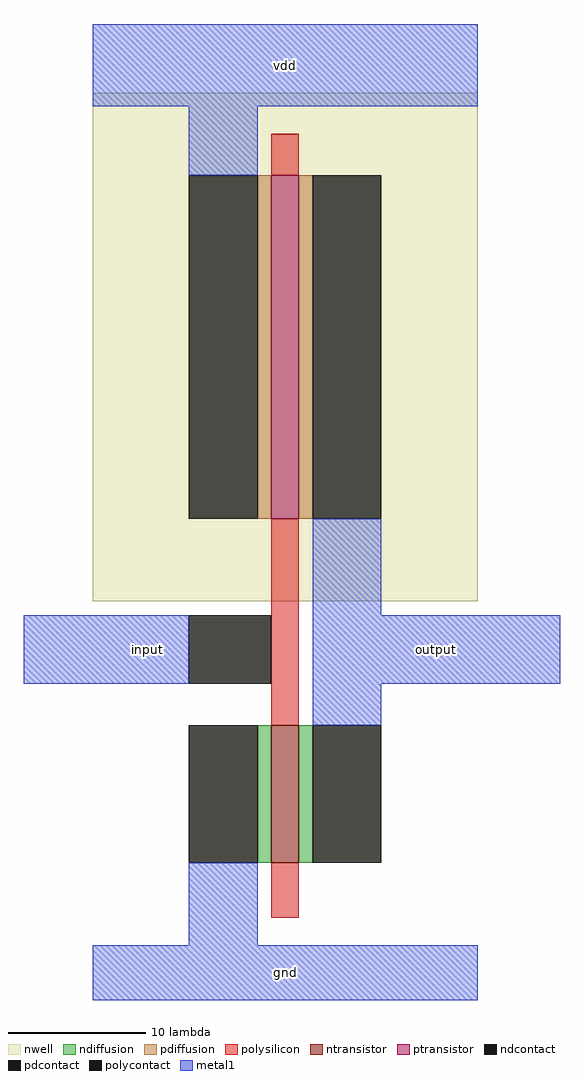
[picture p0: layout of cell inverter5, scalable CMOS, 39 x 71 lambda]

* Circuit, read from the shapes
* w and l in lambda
.subckt inverter5 gnd input output vdd
M1 output input gnd VSUBS nfet w=10 l=2
M2 output input vdd n1 pfet w=25 l=2
.ends

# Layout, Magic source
magic
tech scmos
<< nwell >>
rect -13 -7 15 30
<< ntransistor >>
rect 0 -26 2 -16
<< ptransistor >>
rect 0 -1 2 24
<< ndiffusion >>
rect -1 -26 0 -16
rect 2 -26 3 -16
<< pdiffusion >>
rect -1 -1 0 24
rect 2 -1 3 24
<< ndcontact >>
rect -6 -26 -1 -16
rect 3 -26 8 -16
<< pdcontact >>
rect -6 -1 -1 24
rect 3 -1 8 24
<< polysilicon >>
rect 0 24 2 27
rect 0 -16 2 -1
rect 0 -30 2 -26
<< polycontact >>
rect -6 -13 0 -8
<< metal1 >>
rect -13 29 15 35
rect -6 24 -1 29
rect 3 -8 8 -1
rect -18 -13 -6 -8
rect 3 -13 21 -8
rect 3 -16 8 -13
rect -6 -32 -1 -26
rect -13 -36 15 -32
<< labels >>
rlabel metal1 -13 29 15 35 5 vdd
rlabel metal1 -13 -36 15 -32 1 gnd
rlabel metal1 -18 -13 0 -8 1 input
rlabel metal1 3 -13 21 -8 1 output
<< end >>
